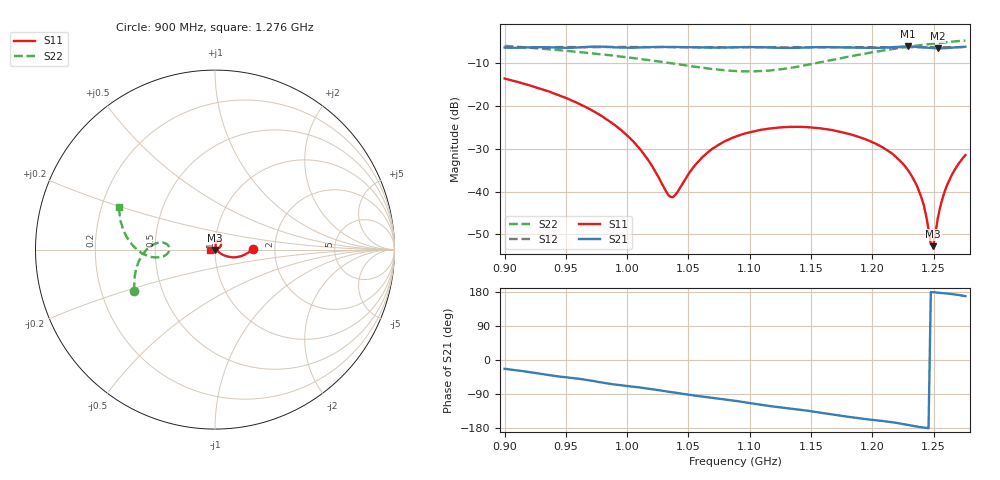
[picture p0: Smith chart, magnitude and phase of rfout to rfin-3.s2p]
!Agilent Technologies,E8358A,US41080382,A.04.25
!Agilent E8358A: A.04.25
!Date: Tuesday, October 25, 2016 18:47:29
!Correction: S11(Full 2 Port SOLT,1,2) S21(Full 2 Port SOLT,1,2) S12(Full 2 Port SOLT,1,2) S22(Full 2 Port SOLT,1,2)
!S2P File: Measurements: S11, S21, S12, S22:
# Hz S  dB  R 50
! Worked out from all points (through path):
!   201 points, 900 MHz to 1.276 GHz, reference 50 ohm
!   highest |S21| = -6.09 dB at 1.229 GHz (marker M1); lowest = -6.5 dB at 1.253 GHz (marker M2)
!   group delay of S21, straight-line fit = 1.25 ns
!   lowest |S11| = -52.7 dB at 1.25 GHz (marker M3), VSWR 1.00, Z = 50 - j0.231 ohm
!   |S11| at or under -10 dB: start of sweep to end of sweep
!   |S22| runs from -11.9 to -4.7 dB; largest |S21 - S12| = 0.018
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9e8  -13.58 0.4  -6.34 -23.2  -6.32 -22.6  -5.94 -152.8
9.6392e8  -19.92 -24.8  -6.25 -51.0  -6.25 -52.3  -7.46 -172.5
9.9964e8  -26.76 -34.3  -6.38 -68.5  -6.21 -68.5  -8.60 178.6
1.0128e9  -30.90 -34.0  -6.29 -73.6  -6.23 -74.5  -9.09 176.1
1.02596e9  -36.79 -21.3  -6.21 -79.9  -6.24 -80.5  -9.61 174.0
1.03348e9  -40.75 6.6  -6.21 -83.6  -6.24 -83.7  -9.91 173.2
1.03724e9  -41.29 29.7  -6.21 -85.6  -6.24 -85.4  -10.06 172.7
1.06168e9  -31.86 82.6  -6.31 -96.7  -6.27 -96.4  -11.05 172.8
1.088e9  -27.20 80.4  -6.29 -107.8  -6.27 -108.3  -11.80 176.5
1.11808e9  -25.19 70.7  -6.34 -122.3  -6.31 -121.6  -11.65 -176.4
1.15192e9  -25.03 56.9  -6.28 -136.1  -6.29 -136.9  -10.13 -172.1
1.18952e9  -27.24 38.9  -6.38 -153.9  -6.27 -153.6  -7.99 -176.4
1.21396e9  -30.67 26.0  -6.30 -163.2  -6.26 -164.8  -6.80 177.2
1.229e9  -34.93 17.2  -6.09 -171.3  -6.25 -171.5  -6.17 172.6
1.24028e9  -41.53 4.1  -6.25 -177.6  -6.24 -176.5  -5.75 168.9
1.24404e9  -45.74 -7.1  -6.35 -179.2  -6.25 -178.4  -5.62 167.5
1.2478e9  -52.20 -47.2  -6.44 179.4  -6.25 -180.0  -5.49 166.3
1.24968e9  -52.73 -88.4  -6.48 178.7  -6.26 179.1  -5.43 165.5
1.25344e9  -46.27 -138.8  -6.52 177.6  -6.26 177.4  -5.30 164.3
1.2572e9  -41.71 -151.5  -6.51 176.6  -6.26 175.7  -5.19 162.9
1.26096e9  -38.53 -158.3  -6.45 175.4  -6.26 174.0  -5.07 161.5
1.276e9  -31.45 -171.9  -6.14 168.4  -6.24 167.2  -4.68 156.2
